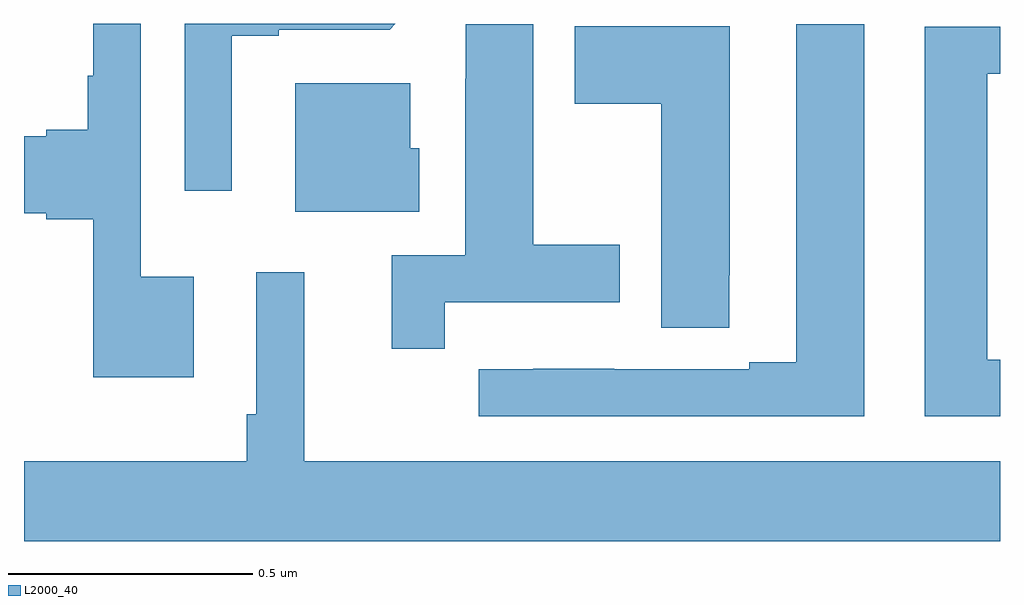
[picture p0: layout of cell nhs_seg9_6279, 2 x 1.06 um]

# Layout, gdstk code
import gdstk
lib = gdstk.Library(unit=1e-6, precision=1e-09)
def P(c, l, *ps):  # polygons
    for p in ps: c.add(gdstk.Polygon(p, *l))
L2000_40 = (2000, 40)

nhs_seg9_6279 = lib.new_cell('nhs_seg9_6279')
P(nhs_seg9_6279, L2000_40, [(190.426,1177.476),(190.522,1177.476),(190.522,1177.488),(190.749,1177.488),(190.761,1177.5),(190.329,1177.5),(190.329,1177.158),(190.426,1177.158)],
  [(190.348,1176.982),(190.239,1176.982),(190.239,1177.5),(190.142,1177.5),(190.142,1177.394),(190.131,1177.394),(190.131,1177.283),(190.046,1177.283),(190.046,1177.27),(190,1177.27),(190,1177.112),(190.046,1177.112),(190.046,1177.1),(190.142,1177.1),(190.142,1176.776),(190.348,1176.776)],
  [(191.722,1177.499),(191.582,1177.499),(191.582,1176.807),(191.486,1176.807),(191.486,1176.792),(191.21,1176.792),(191.21,1176.793),(191.044,1176.793),(191.044,1176.792),(190.932,1176.792),(190.932,1176.696),(191.722,1176.696)],
  [(190.862,1176.93),(191.221,1176.93),(191.221,1177.047),(191.044,1177.047),(191.044,1177.499),(190.905,1177.499),(190.905,1177.388),(190.904,1177.388),(190.904,1177.026),(190.754,1177.026),(190.754,1176.834),(190.862,1176.834)],
  [(191.445,1176.985),(191.446,1176.985),(191.446,1177.495),(191.129,1177.495),(191.129,1177.336),(191.306,1177.336),(191.306,1176.877),(191.445,1176.877)],
  [(192,1176.812),(191.974,1176.812),(191.974,1177.398),(192,1177.398),(192,1177.494),(191.846,1177.494),(191.846,1176.696),(192,1176.696)],
  [(190.81,1177.245),(190.792,1177.245),(190.792,1177.378),(190.556,1177.378),(190.556,1177.115),(190.81,1177.115)],
  [(192,1176.604),(190.574,1176.604),(190.574,1176.991),(190.476,1176.991),(190.476,1176.7),(190.456,1176.7),(190.456,1176.604),(190,1176.604),(190,1176.44),(192,1176.44)])

lib.write_gds('nhs_seg9_6279.gds')
